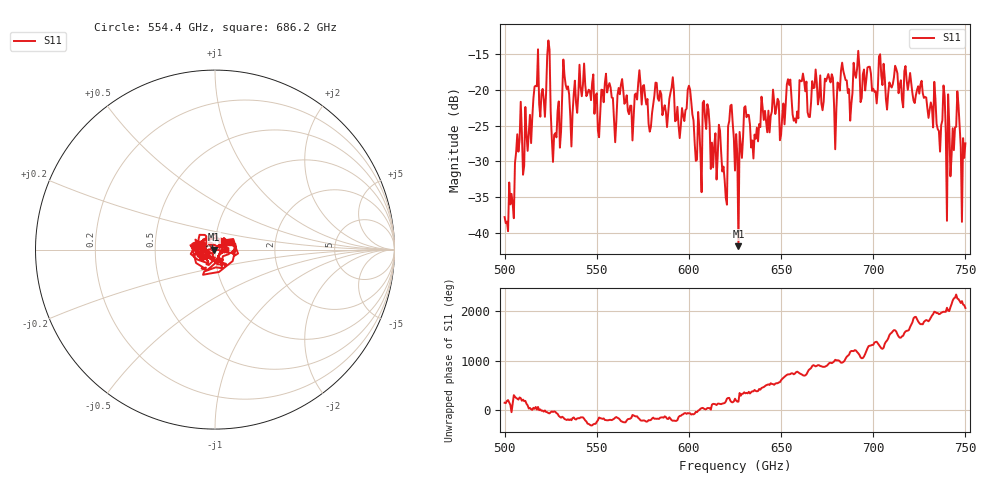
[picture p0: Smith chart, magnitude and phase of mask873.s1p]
!Created with skrf (http://scikit-rf.org).
# GHz S MA R 50.0
!freq magS11 angS11
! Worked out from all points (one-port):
!   401 points, 500 GHz to 750 GHz, reference 50 ohm
!   lowest |S11| = -41.9 dB at 626.9 GHz (marker M1), VSWR 1.02, Z = 49.2 + j0.0208 ohm
!   |S11| at or under -10 dB: start of sweep to end of sweep
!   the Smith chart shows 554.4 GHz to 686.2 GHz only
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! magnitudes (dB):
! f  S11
! 500 GHz  -37.8
! 516.9 GHz  -19.4
! 520.6 GHz  -19.9
! 523.8 GHz  -13.1
! 526.9 GHz  -26.3
! 531.2 GHz  -20.7
! 562.5 GHz  -20.6
! 579.4 GHz  -25.2
! 590.6 GHz  -19.7
! 593.8 GHz  -22.4
! 600.6 GHz  -19.9
! 605.6 GHz  -25.3
! 609.4 GHz  -25.5
! 619.4 GHz  -32.6
! 622.5 GHz  -22.2
! 625 GHz  -31.3
! 626.9 GHz  -41.9
! 631.2 GHz  -23.8
! 635 GHz  -29.6
! 656.2 GHz  -23.4
! 676.2 GHz  -18.5
! 680 GHz  -22.7
! 683.8 GHz  -17.3
! 687.5 GHz  -24.3
! 690.6 GHz  -18.3
! 718.8 GHz  -20.0
! 741.2 GHz  -24.9
! 750 GHz  -27.5
